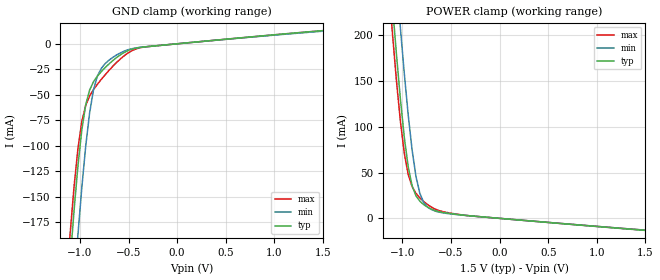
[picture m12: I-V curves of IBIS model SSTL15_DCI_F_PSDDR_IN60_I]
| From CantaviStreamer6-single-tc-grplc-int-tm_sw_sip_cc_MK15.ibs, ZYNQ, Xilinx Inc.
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[Model]  SSTL15_DCI_F_PSDDR_IN60_I
Model_type Input
Polarity   Non-Inverting
Vinl =   0.6500V
Vinh =   0.8500V
C_comp   2.69pf   2.69pf  2.70pf
[Temperature Range]   25.0000   85.0000   0.0
[Voltage Range]   1.5000V   1.4250V   1.5750V
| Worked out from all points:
|   GND clamp passes 1 mA (typ) near -0.11 V on its own axis
|   POWER clamp passes 1 mA (typ) near -0.11 V on its own axis
[GND_clamp]
|Voltage   I(typ)   I(min)   I(max)
-1.5V     -783.7mA   -857.1mA   -755.6mA
-1.1V     -212.5mA   -290.3mA   -185.6mA
-1.06V    -163.4mA   -237.4mA   -140.1mA
-1.02V    -119.7mA   -187.1mA   -102.6mA
-980mV    -84.25mA   -140.8mA   -76.13mA
-940mV    -59.73mA   -100.2mA   -60.36mA
-900mV    -45.38mA   -67.71mA   -51.17mA
-860mV    -37.18mA   -45.12mA   -44.91mA
-780mV    -27.29mA   -24.1mA    -34.92mA
-660mV    -16.36mA   -13.21mA   -21.91mA
-340mV    -3.13mA    -3.045mA   -3.199mA
1.5V      12.95mA    12.37mA    12.84mA
[POWER_clamp]
|Voltage   I(typ)   I(min)   I(max)
-1.5V     825.5mA    912mA      791.8mA
-1.14V    284.4mA    370.9mA    252.1mA
-1.1V     229.5mA    314.4mA    198.7mA
-1.06V    177.4mA    259.5mA    149mA
-1.02V    129.5mA    206.9mA    105.3mA
-980mV    87.99mA    157.5mA    70.7mA
-940mV    55.98mA    112.6mA    47.63mA
-900mV    35.51mA    74.44mA    34.59mA
-860mV    24.54mA    45.49mA    27.25mA
-780mV    14.94mA    17.18mA    18.33mA
-380mV    3.56mA     3.477mA    3.685mA
1.5V      -13.15mA   -12.88mA   -12.92mA
